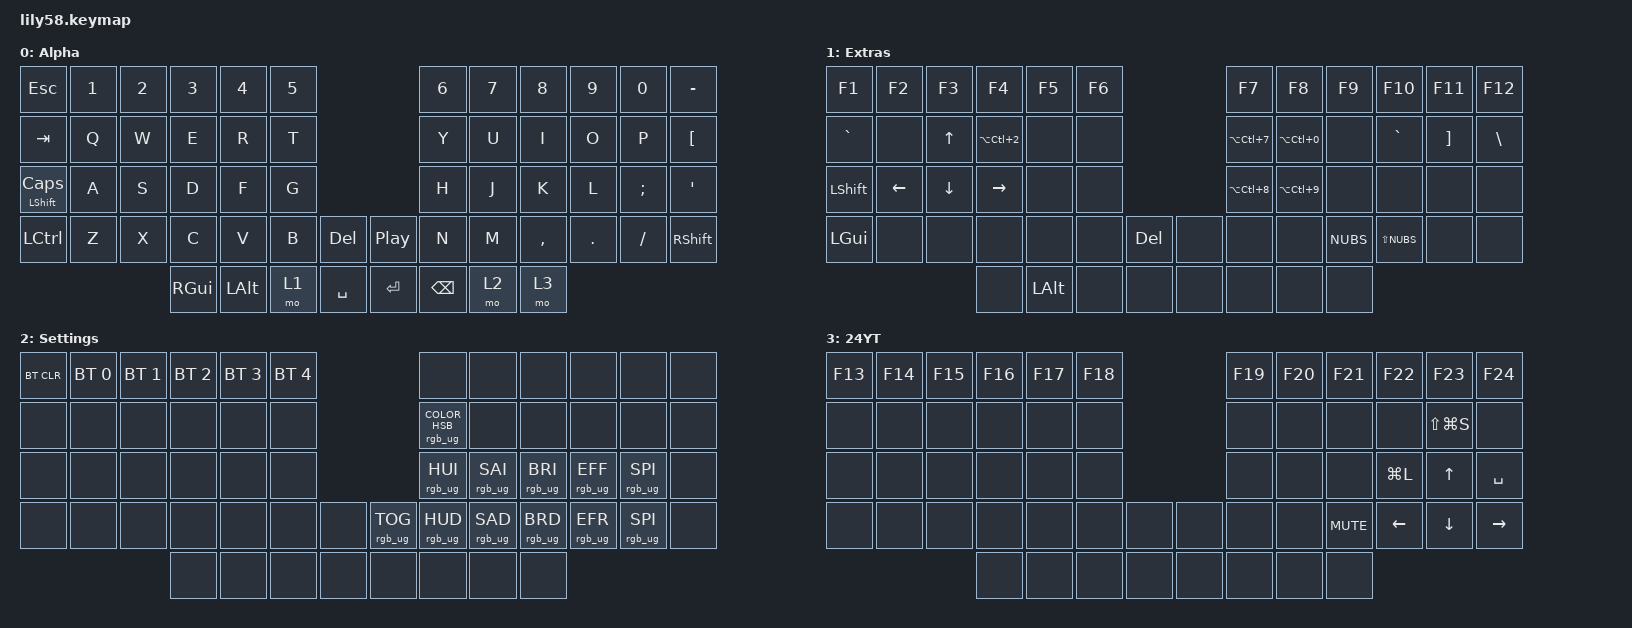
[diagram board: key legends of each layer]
/*
 * Copyright (c) 2020 The ZMK Contributors
 *
 * SPDX-License-Identifier: MIT
 */

#include <behaviors.dtsi>
#include <dt-bindings/zmk/bt.h>
#include <dt-bindings/zmk/keys.h>
#include <dt-bindings/zmk/rgb.h>

/ {
    keymap {
        compatible = "zmk,keymap";

        Alpha {
            // ------------------------------------------------------------------------------------------------------------
            // |  ESC  |  1  |  2  |  3   |  4   |  5   |                   |  6   |  7    |  8    |  9   |   0   |   `   |
            // |  TAB  |  Q  |  W  |  E   |  R   |  T   |                   |  Y   |  U    |  I    |  O   |   P   |   -   |
            // | SH_CL |  A  |  S  |  D   |  F   |  G   |                   |  H   |  J    |  K    |  L   |   ;   |   '   |
            // | CTRL  |  Z  |  X  |  C   |  V   |  B   |   DEL  |  |RGB_TOG|  N   |  M    |  ,    |  .   |   /   | SHIFT |
            //                     | GUI  | ALT  |Extras|  SPACE |  | ENTER | BSPC | Sett  | GUI   |

            bindings = <
&kp ESC                  &kp N1  &kp N2  &kp N3         &kp N4        &kp N5                                 &kp N6         &kp N7  &kp N8     &kp N9   &kp N0    &kp MINUS
&kp TAB                  &kp Q   &kp W   &kp E          &kp R         &kp T                                  &kp Y          &kp U   &kp I      &kp O    &kp P     &kp LEFT_BRACKET
&mt LEFT_SHIFT CAPSLOCK  &kp A   &kp S   &kp D          &kp F         &kp G                                  &kp H          &kp J   &kp K      &kp L    &kp SEMI  &kp SQT
&kp LCTRL                &kp Z   &kp X   &kp C          &kp V         &kp B   &kp DEL      &kp C_PLAY_PAUSE  &kp N          &kp M   &kp COMMA  &kp DOT  &kp FSLH  &kp RSHFT
                                         &kp RIGHT_GUI  &kp LEFT_ALT  &mo 1   &kp SPACE    &kp RET           &kp BACKSPACE  &mo 2   &mo 3
            >;

            display-name = "Alpha";
        };

        Extras {
            // ------------------------------------------------------------------------------------------------------------
            // |  F1   | F2  |  F3 |  F4  |  F5  |  F6  |                   |  F7  |  F8   |  F9   |  F10 |  F11  |  F12  |
            // |  \    |     |  Up |  @   |      |      |                   |   {  |   }   |       |      |  ´/`  |  ~/^  |
            // | SHIFT |Left | Down| Right|      |      |                   |   [  |   ]   |       |      |       |       |
            // |  GUI  |     |     |      |      |      |   DEL  |  |       |      |       |   <   |  >   |       |       |
            //                     |      |      |  ALT |        |  |       |      |       |       |

            bindings = <
&kp F1          &kp F2          &kp F3        &kp F4                &kp F5        &kp F6                       &kp F7          &kp F8          &kp F9    &kp F10       &kp F11   &kp F12
&kp GRAVE       &none           &kp UP_ARROW  &kp LA(LC(NUMBER_2))  &none         &none                        &kp LA(LC(N7))  &kp LA(LC(N0))  &none     &kp GRAVE     &kp RBKT  &kp BACKSLASH
&kp LEFT_SHIFT  &kp LEFT_ARROW  &kp DOWN      &kp RIGHT_ARROW       &none         &none                        &kp LA(LC(N8))  &kp LA(LC(N9))  &none     &none         &none     &none
&kp LEFT_GUI    &none           &none         &none                 &none         &none   &kp DELETE    &none  &none           &none           &kp NUBS  &kp LS(NUBS)  &none     &none
                                              &none                 &kp LEFT_ALT  &none   &none         &none  &none           &none           &none
            >;

            display-name = "Extras";
        };

        Settings {
            // ----------------------------------------------------------------------------------------------------------------------------
            // | BTCLR  |  BT1    |  BT2    |   BT3   |   BT4   |   BT5   |                     |         |         |         |         |         |       |
            // |        |         |         |         |         |         |                     | SetCLR  |         |         |         |         |       |
            // |        |         |         |         |         |         |                     |  HUE+   |   SAT+  | BRIGTH+ | EFFECT+ | SPEED+  |       |
            // |        |         |         |         |         |         |         | | RGB_TOG |  HUE-   |   SAT-  | BRIGHT- | EFFECT- | SPEED-  |       |
            //                    |         |         |         |         |         | |         |         |         |         |         |

            bindings = <
&bt BT_CLR  &bt BT_SEL 0  &bt BT_SEL 1  &bt BT_SEL 2  &bt BT_SEL 3  &bt BT_SEL 4                            &none                              &none            &none            &none            &none            &none
&none       &none         &none         &none         &none         &none                                   &rgb_ug RGB_COLOR_HSB(205,100,60)  &none            &none            &none            &none            &none
&none       &none         &none         &none         &none         &none                                   &rgb_ug RGB_HUI                    &rgb_ug RGB_SAI  &rgb_ug RGB_BRI  &rgb_ug RGB_EFF  &rgb_ug RGB_SPI  &none
&none       &none         &none         &none         &none         &none         &none    &rgb_ug RGB_TOG  &rgb_ug RGB_HUD                    &rgb_ug RGB_SAD  &rgb_ug RGB_BRD  &rgb_ug RGB_EFR  &rgb_ug RGB_SPI  &none
                                        &none         &none         &none         &none    &none            &none                              &none            &none
            >;

            display-name = "Settings";
        };

        Flayer24 {
            // ----------------------------------------------------------------------------------------------------------------------------
            // |   F13  |   F14   |   F15   |   F16   |   F17   |   F18   |                     |  F19    |   F20   |   F21   |  F22    |   F23   |  F24  |
            // |        |         |         |         |         |         |                     |         |         |         |         |  Print  |       |
            // |        |         |         |         |         |         |                     |         |         |         |  Lock   |   Up    |       |
            // |        |         |         |         |         |         |         | |         |         |         |  Mute   |  Left   |  Dowm   | Right |
            //                    |         |         |         |         |         | |         |         |         |         |         |

            display-name = "24YT";
            bindings = <
&kp F13  &kp F14  &kp F15  &kp F16  &kp F17  &kp F18                  &kp F19  &kp F20  &kp F21     &kp F22         &kp F23         &kp F24
&none    &none    &none    &none    &none    &none                    &none    &none    &none       &none           &kp LS(LG(S))   &none
&none    &none    &none    &none    &none    &none                    &none    &none    &none       &kp LG(L)       &kp UP_ARROW    &kp SPACE
&none    &none    &none    &none    &none    &none    &none    &none  &none    &none    &kp K_MUTE  &kp LEFT_ARROW  &kp DOWN_ARROW  &kp RIGHT_ARROW
                           &none    &none    &none    &none    &none  &none    &none    &none
            >;
        };
    };
};
